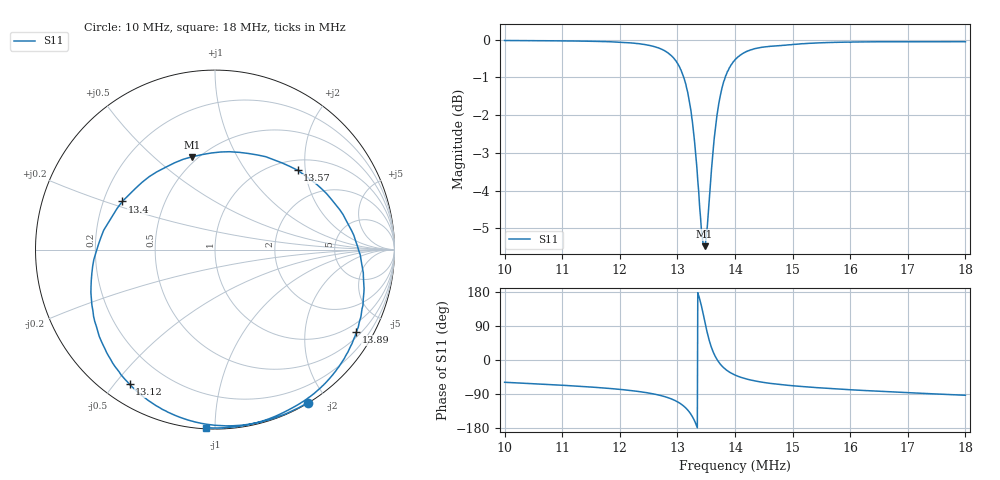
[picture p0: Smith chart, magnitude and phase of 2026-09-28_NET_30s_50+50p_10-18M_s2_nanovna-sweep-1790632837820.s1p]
! NanoVNA Web complex sweep
! Processing: unaveraged complex samples; linear segment spacing; no smoothing
# Hz S RI R 50
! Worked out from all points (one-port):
!   1010 points, 10 MHz to 18 MHz, reference 50 ohm
!   lowest |S11| = -5.5 dB at 13.47 MHz (marker M1), VSWR 3.28, Z = 23.2 + j33.5 ohm
!   |S11| at or under -10 dB: nowhere
!   S11 on the Smith chart (normalised r, x): 10 MHz: 0.01, -1.77; 13.12 MHz: 0.08, -0.55; 13.4 MHz: 0.28, +0.23; 13.57 MHz: 1.22, +1.82; 13.89 MHz: 0.66, -3.59; 18 MHz: 0.01, -0.95
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1e7  0.5161 -0.8535
1.100698e7  0.3946 -0.9146
1.200604e7  0.2131 -0.969
1.234698e7  0.1111 -0.981
1.260864e7  -0.00392 -0.9785
1.282272e7  -0.1454 -0.9507
1.300509e7  -0.3275 -0.8699
1.31161e7  -0.4762 -0.7504
1.321124e7  -0.6132 -0.5526
1.329846e7  -0.6914 -0.2408
1.335397e7  -0.6497 0.0276
1.340154e7  -0.5162 0.2686
1.344119e7  -0.3246 0.4329
1.34729e7  -0.1298 0.5166
1.352048e7  0.1861 0.5355
1.356805e7  0.4599 0.4424
1.359977e7  0.5953 0.3377
1.363148e7  0.6952 0.2222
1.369491e7  0.8011 -0.00603
1.378213e7  0.8278 -0.2576
1.388521e7  0.7877 -0.4585
1.400414e7  0.7215 -0.6048
1.416272e7  0.6361 -0.7207
1.436888e7  0.5461 -0.8062
1.50032e7  0.3699 -0.9133
1.600225e7  0.1989 -0.9716
1.700131e7  0.0653 -0.9916
1.800036e7  -0.0526 -0.9923
